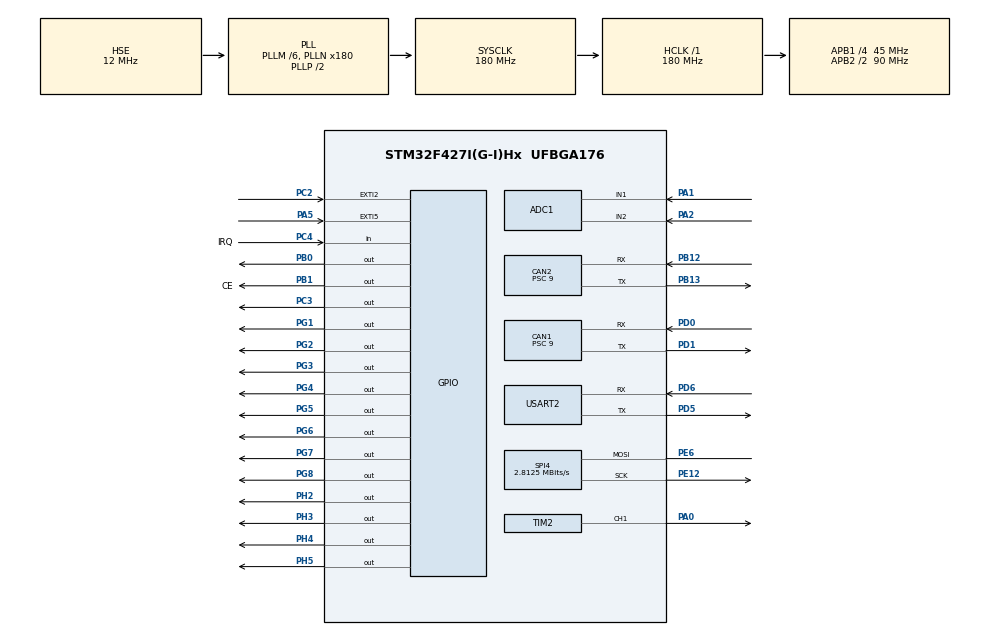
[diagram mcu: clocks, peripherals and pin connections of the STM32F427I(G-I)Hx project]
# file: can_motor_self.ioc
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ADC1.Channel-0\#ChannelRegularConversion=ADC_CHANNEL_1
ADC1.Channel-1\#ChannelRegularConversion=ADC_CHANNEL_1
ADC1.ContinuousConvMode=ENABLE
ADC1.NbrOfConversion=2
ADC1.NbrOfConversionFlag=1
ADC1.Rank-0\#ChannelRegularConversion=1
ADC1.Rank-1\#ChannelRegularConversion=2
ADC1.SamplingTime-0\#ChannelRegularConversion=ADC_SAMPLETIME_3CYCLES
ADC1.SamplingTime-1\#ChannelRegularConversion=ADC_SAMPLETIME_3CYCLES
ADC1.master=1
CAN1.BS1=CAN_BS1_2TQ
CAN1.BS2=CAN_BS2_2TQ
CAN1.CalculateBaudRate=1000000
CAN1.CalculateTimeBit=1000
CAN1.CalculateTimeQuantum=200.0
CAN1.Prescaler=9
CAN2.BS1=CAN_BS1_2TQ
CAN2.BS2=CAN_BS2_2TQ
CAN2.CalculateBaudRate=1000000
CAN2.CalculateTimeBit=1000
CAN2.CalculateTimeQuantum=200.0
CAN2.Prescaler=9
Dma.ADC1.0.Direction=DMA_PERIPH_TO_MEMORY
Dma.ADC1.0.FIFOMode=DMA_FIFOMODE_DISABLE
Dma.ADC1.0.Instance=DMA2_Stream0
Dma.ADC1.0.MemDataAlignment=DMA_MDATAALIGN_HALFWORD
Dma.ADC1.0.MemInc=DMA_MINC_ENABLE
Dma.ADC1.0.Mode=DMA_CIRCULAR
Dma.ADC1.0.PeriphDataAlignment=DMA_PDATAALIGN_HALFWORD
Dma.ADC1.0.PeriphInc=DMA_PINC_DISABLE
Dma.ADC1.0.Priority=DMA_PRIORITY_LOW
Dma.Request0=ADC1
Dma.Request1=USART2_RX
Dma.Request2=USART2_TX
Dma.Request3=SPI4_RX
Dma.Request4=SPI4_TX
Dma.SPI4_RX.3.Direction=DMA_PERIPH_TO_MEMORY
Dma.SPI4_RX.3.FIFOMode=DMA_FIFOMODE_DISABLE
Dma.SPI4_RX.3.Instance=DMA2_Stream3
Dma.SPI4_RX.3.MemDataAlignment=DMA_MDATAALIGN_HALFWORD
Dma.SPI4_RX.3.MemInc=DMA_MINC_ENABLE
Dma.SPI4_RX.3.Mode=DMA_NORMAL
Dma.SPI4_RX.3.PeriphDataAlignment=DMA_PDATAALIGN_HALFWORD
Dma.SPI4_RX.3.PeriphInc=DMA_PINC_DISABLE
Dma.SPI4_RX.3.Priority=DMA_PRIORITY_LOW
Dma.SPI4_TX.4.Direction=DMA_MEMORY_TO_PERIPH
Dma.SPI4_TX.4.FIFOMode=DMA_FIFOMODE_DISABLE
Dma.SPI4_TX.4.Instance=DMA2_Stream1
Dma.SPI4_TX.4.MemDataAlignment=DMA_MDATAALIGN_HALFWORD
Dma.SPI4_TX.4.MemInc=DMA_MINC_ENABLE
Dma.SPI4_TX.4.Mode=DMA_NORMAL
Dma.SPI4_TX.4.PeriphDataAlignment=DMA_PDATAALIGN_HALFWORD
Dma.SPI4_TX.4.PeriphInc=DMA_PINC_DISABLE
Dma.SPI4_TX.4.Priority=DMA_PRIORITY_LOW
Dma.USART2_RX.1.Direction=DMA_PERIPH_TO_MEMORY
Dma.USART2_RX.1.FIFOMode=DMA_FIFOMODE_DISABLE
Dma.USART2_RX.1.Instance=DMA1_Stream5
Dma.USART2_RX.1.MemDataAlignment=DMA_MDATAALIGN_BYTE
Dma.USART2_RX.1.MemInc=DMA_MINC_ENABLE
Dma.USART2_RX.1.Mode=DMA_NORMAL
Dma.USART2_RX.1.PeriphDataAlignment=DMA_PDATAALIGN_BYTE
Dma.USART2_RX.1.PeriphInc=DMA_PINC_DISABLE
Dma.USART2_RX.1.Priority=DMA_PRIORITY_LOW
Dma.USART2_TX.2.Direction=DMA_MEMORY_TO_PERIPH
Dma.USART2_TX.2.FIFOMode=DMA_FIFOMODE_DISABLE
Dma.USART2_TX.2.Instance=DMA1_Stream6
Dma.USART2_TX.2.MemDataAlignment=DMA_MDATAALIGN_BYTE
Dma.USART2_TX.2.MemInc=DMA_MINC_ENABLE
Dma.USART2_TX.2.Mode=DMA_NORMAL
Dma.USART2_TX.2.PeriphDataAlignment=DMA_PDATAALIGN_BYTE
Dma.USART2_TX.2.PeriphInc=DMA_PINC_DISABLE
Dma.USART2_TX.2.Priority=DMA_PRIORITY_LOW
Mcu.Family=STM32F4
Mcu.Name=STM32F427I(G-I)Hx
Mcu.Package=UFBGA176
NVIC.CAN1_RX0_IRQn=true\:0\:0\:false\:false\:true\:true\:true\:true
NVIC.CAN1_RX1_IRQn=true\:0\:0\:false\:false\:true\:true\:true\:true
NVIC.CAN1_SCE_IRQn=true\:0\:0\:false\:false\:true\:true\:true\:true
NVIC.CAN1_TX_IRQn=true\:0\:0\:false\:false\:true\:true\:true\:true
NVIC.CAN2_RX0_IRQn=true\:0\:0\:false\:false\:true\:true\:true\:true
NVIC.CAN2_RX1_IRQn=true\:0\:0\:false\:false\:true\:true\:true\:true
NVIC.CAN2_SCE_IRQn=true\:0\:0\:false\:false\:true\:true\:true\:true
NVIC.CAN2_TX_IRQn=true\:0\:0\:false\:false\:true\:true\:true\:true
NVIC.DMA1_Stream5_IRQn=true\:0\:0\:false\:false\:true\:false\:true\:true
NVIC.DMA1_Stream6_IRQn=true\:0\:0\:false\:false\:true\:false\:true\:true
NVIC.DMA2_Stream0_IRQn=true\:0\:0\:false\:false\:true\:false\:true\:true
NVIC.DMA2_Stream1_IRQn=true\:0\:0\:false\:false\:true\:false\:true\:true
NVIC.DMA2_Stream3_IRQn=true\:0\:0\:false\:false\:true\:false\:true\:true
NVIC.PriorityGroup=NVIC_PRIORITYGROUP_4
NVIC.USART2_IRQn=true\:0\:0\:false\:false\:true\:true\:true\:true
PA0/WKUP.Signal=S_TIM2_CH1_ETR
PA1.Signal=ADCx_IN1
PA13.Mode=Serial_Wire
PA13.Signal=SYS_JTMS-SWDIO
PA14.Mode=Serial_Wire
PA14.Signal=SYS_JTCK-SWCLK
PA2.Signal=ADCx_IN2
PA5.Signal=GPXTI5
PB0.PinState=GPIO_PIN_SET
PB0.Signal=GPIO_Output
PB1.GPIO_Label=CE
PB1.GPIO_PuPd=GPIO_PULLUP
PB1.GPIO_Speed=GPIO_SPEED_FREQ_HIGH
PB1.PinState=GPIO_PIN_SET
PB1.Signal=GPIO_Output
PB12.Mode=CAN_Activate
PB12.Signal=CAN2_RX
PB13.Mode=CAN_Activate
PB13.Signal=CAN2_TX
PC2.Signal=GPXTI2
PC3.GPIO_ModeDefaultOutputPP=GPIO_MODE_OUTPUT_PP
PC3.GPIO_PuPd=GPIO_PULLUP
PC3.GPIO_Speed=GPIO_SPEED_FREQ_HIGH
PC3.PinState=GPIO_PIN_SET
PC3.Signal=GPIO_Output
PC4.GPIO_Label=IRQ
PC4.GPIO_PuPd=GPIO_PULLUP
PC4.Signal=GPIO_Input
PD0.Mode=CAN_Activate
PD0.Signal=CAN1_RX
PD1.Mode=CAN_Activate
PD1.Signal=CAN1_TX
PD5.Mode=Asynchronous
PD5.Signal=USART2_TX
PD6.Mode=Asynchronous
PD6.Signal=USART2_RX
PE12.Mode=Simplex_Bidirectional_Master
PE12.Signal=SPI4_SCK
PE6.Mode=Simplex_Bidirectional_Master
PE6.Signal=SPI4_MOSI
PG1.GPIO_ModeDefaultOutputPP=GPIO_MODE_OUTPUT_PP
PG1.GPIO_PuPd=GPIO_PULLUP
PG1.Signal=GPIO_Output
PG2.Signal=GPIO_Output
PG3.Signal=GPIO_Output
PG4.Signal=GPIO_Output
PG5.Signal=GPIO_Output
PG6.Signal=GPIO_Output
PG7.Signal=GPIO_Output
PG8.Signal=GPIO_Output
PH0/OSC_IN.Mode=HSE-External-Oscillator
PH0/OSC_IN.Signal=RCC_OSC_IN
PH1/OSC_OUT.Mode=HSE-External-Oscillator
PH1/OSC_OUT.Signal=RCC_OSC_OUT
PH2.GPIO_PuPd=GPIO_PULLUP
PH2.Signal=GPIO_Output
PH3.GPIO_PuPd=GPIO_PULLUP
PH3.Signal=GPIO_Output
PH4.GPIO_PuPd=GPIO_PULLUP
PH4.PinState=GPIO_PIN_SET
PH4.Signal=GPIO_Output
PH5.GPIO_PuPd=GPIO_PULLUP
PH5.PinState=GPIO_PIN_RESET
PH5.Signal=GPIO_Output
ProjectManager.HeapSize=0x200
ProjectManager.StackSize=0x400
ProjectManager.TargetToolchain=MDK-ARM V5.32
RCC.48MHZClocksFreq_Value=90000000
RCC.AHBFreq_Value=180000000
RCC.APB1CLKDivider=RCC_HCLK_DIV4
RCC.APB1Freq_Value=45000000
RCC.APB1TimFreq_Value=90000000
RCC.APB2CLKDivider=RCC_HCLK_DIV2
RCC.APB2Freq_Value=90000000
RCC.APB2TimFreq_Value=180000000
RCC.CortexFreq_Value=180000000
RCC.HCLKFreq_Value=180000000
RCC.HSE_VALUE=12000000
RCC.HSI_VALUE=16000000
RCC.LSE_VALUE=32768
RCC.PLLM=6
RCC.PLLN=180
RCC.PLLSourceVirtual=RCC_PLLSOURCE_HSE
RCC.SYSCLKFreq_VALUE=180000000
RCC.SYSCLKSource=RCC_SYSCLKSOURCE_PLLCLK
RCC.VCOOutputFreq_Value=360000000
SH.ADCx_IN1.0=ADC1_IN1,IN1
SH.ADCx_IN2.0=ADC1_IN2,IN2
SH.S_TIM2_CH1_ETR.0=TIM2_CH1,PWM Generation1 CH1
SPI4.BaudRatePrescaler=SPI_BAUDRATEPRESCALER_32
SPI4.CLKPhase=SPI_PHASE_2EDGE
SPI4.CLKPolarity=SPI_POLARITY_LOW
SPI4.CRCCalculation=SPI_CRCCALCULATION_DISABLE
SPI4.CalculateBaudRate=2.8125 MBits/s
SPI4.DataSize=SPI_DATASIZE_16BIT
SPI4.Direction=SPI_DIRECTION_1LINE
SPI4.Mode=SPI_MODE_MASTER
SPI4.VirtualType=VM_MASTER
TIM2.AutoReloadPreload=TIM_AUTORELOAD_PRELOAD_ENABLE
TIM2.Channel-PWM\ Generation1\ CH1=TIM_CHANNEL_1
TIM2.Period=2000
TIM2.Prescaler=180-01
TIM2.Pulse-PWM\ Generation1\ CH1=0
USART2.VirtualMode=VM_ASYNC
VP_TIM2_VS_ClockSourceINT.Mode=Internal
board=custom

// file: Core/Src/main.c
/* USER CODE BEGIN Header */
/**
  ******************************************************************************
  * @file           : main.c
  * @brief          : Main program body
  ******************************************************************************
  * @attention
  *
  * Copyright (c) 2024 STMicroelectronics.
  * All rights reserved.
  *
  * This software is licensed under terms that can be found in the LICENSE file
  * in the root directory of this software component.
  * If no LICENSE file comes with this software, it is provided AS-IS.
  *
  ******************************************************************************
  */
/* USER CODE END Header */
#include "main.h"
#include "adc.h"
#include "can.h"
#include "dma.h"
#include "spi.h"
#include "tim.h"
#include "usart.h"
#include "gpio.h"

/* USER CODE BEGIN Includes */
#include "CAN_receive.h"
#include "bsp_can.h"
#include "A_bsp.h"
#include "motor.h"
#include "Servos.h"
#include "nrf24L01.h"
#include "stdio.h"
#include "spi5012.h"
/* USER CODE END Includes */

/* USER CODE BEGIN PV */
chassis_move_t chassis_move;
uint8_t tx_data[10] = "hello";
uint8_t re_data[10];
int16_t ADC1_num[2];
int16_t X_LC,Y_LC;
float Angle_5012;
/* USER CODE END PV */

void SystemClock_Config(void);

int main(void)
{

  /* MCU Configuration--------------------------------------------------------*/

  /* Reset of all peripherals, Initializes the Flash interface and the Systick. */
  HAL_Init();

  /* Configure the system clock */
  SystemClock_Config();

  /* Initialize all configured peripherals */
  MX_GPIO_Init();
  MX_DMA_Init();
  MX_CAN1_Init();
  MX_TIM2_Init();
  MX_SPI4_Init();
  MX_ADC1_Init();
  MX_USART2_UART_Init();
  MX_CAN2_Init();
  /* USER CODE BEGIN 2 */

	can_filter_init(&hcan1);//配置CAN过滤器
	can_filter_init(&hcan2);
	HAL_CAN_Start(&hcan1);   //开启CAN总开关
	HAL_CAN_Start(&hcan2);
	HAL_CAN_ActivateNotification(&hcan1, CAN_IT_RX_FIFO0_MSG_PENDING);//启动CAN接收中断
	HAL_CAN_ActivateNotification(&hcan2, CAN_IT_RX_FIFO0_MSG_PENDING);

  /* USER CODE END 2 */

  /* Infinite loop */
  /* USER CODE BEGIN WHILE */

	chassis_init(&chassis_move);
//	HAL_ADCEx_Calibration_Start(&hadc1);
//	HAL_ADC_Start_DMA(&hadc1,(uint32_t*)ADC1_num,2);

  while (1)
  {

	Angle_5012= tle5012();

		HAL_Delay(5);

    /* USER CODE END WHILE */

  }
}

void SystemClock_Config(void)
{
  RCC_OscInitTypeDef RCC_OscInitStruct = {0};
  RCC_ClkInitTypeDef RCC_ClkInitStruct = {0};

  /** Configure the main internal regulator output voltage
  */
  __HAL_RCC_PWR_CLK_ENABLE();
  __HAL_PWR_VOLTAGESCALING_CONFIG(PWR_REGULATOR_VOLTAGE_SCALE1);

  /** Initializes the RCC Oscillators according to the specified parameters
  * in the RCC_OscInitTypeDef structure.
  */
  RCC_OscInitStruct.OscillatorType = RCC_OSCILLATORTYPE_HSE;
  RCC_OscInitStruct.HSEState = RCC_HSE_ON;
  RCC_OscInitStruct.PLL.PLLState = RCC_PLL_ON;
  RCC_OscInitStruct.PLL.PLLSource = RCC_PLLSOURCE_HSE;
  RCC_OscInitStruct.PLL.PLLM = 6;
  RCC_OscInitStruct.PLL.PLLN = 180;
  RCC_OscInitStruct.PLL.PLLP = RCC_PLLP_DIV2;
  RCC_OscInitStruct.PLL.PLLQ = 4;
  if (HAL_RCC_OscConfig(&RCC_OscInitStruct) != HAL_OK)
  {
    Error_Handler();
  }

  /** Activate the Over-Drive mode
  */
  if (HAL_PWREx_EnableOverDrive() != HAL_OK)
  {
    Error_Handler();
  }

  /** Initializes the CPU, AHB and APB buses clocks
  */
  RCC_ClkInitStruct.ClockType = RCC_CLOCKTYPE_HCLK|RCC_CLOCKTYPE_SYSCLK
                              |RCC_CLOCKTYPE_PCLK1|RCC_CLOCKTYPE_PCLK2;
  RCC_ClkInitStruct.SYSCLKSource = RCC_SYSCLKSOURCE_PLLCLK;
  RCC_ClkInitStruct.AHBCLKDivider = RCC_SYSCLK_DIV1;
  RCC_ClkInitStruct.APB1CLKDivider = RCC_HCLK_DIV4;
  RCC_ClkInitStruct.APB2CLKDivider = RCC_HCLK_DIV2;

  if (HAL_RCC_ClockConfig(&RCC_ClkInitStruct, FLASH_LATENCY_5) != HAL_OK)
  {
    Error_Handler();
  }
}

/* USER CODE BEGIN 4 */

void HAL_UARTEx_RxEventCallback(UART_HandleTypeDef *huart, uint16_t Size)
{
	if(huart == &huart2)
	{
		HAL_UARTEx_ReceiveToIdle_DMA(&huart2,re_data,5);
		if(re_data[0]=='1')
		{
			HAL_GPIO_TogglePin(GPIOG,GPIO_PIN_1);
			re_data[0]='0';
		}
	}
}
/* USER CODE END 4 */

void Error_Handler(void)
{
  __disable_irq();
  while (1)
  {
  }
}
